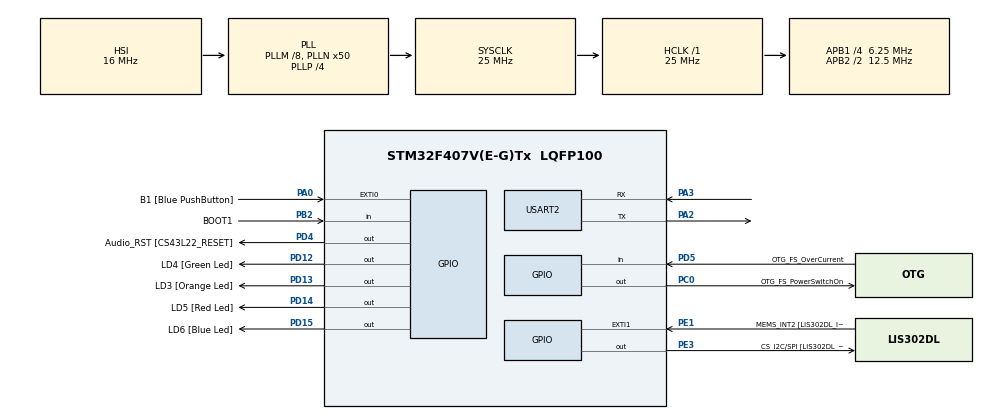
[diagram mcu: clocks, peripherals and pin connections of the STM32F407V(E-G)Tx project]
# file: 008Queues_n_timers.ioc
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Mcu.Family=STM32F4
Mcu.Name=STM32F407V(E-G)Tx
Mcu.Package=LQFP100
NVIC.PriorityGroup=NVIC_PRIORITYGROUP_4
NVIC.TIM6_DAC_IRQn=true\:15\:0\:false\:false\:true\:false\:true\:true
NVIC.TimeBase=TIM6_DAC_IRQn
NVIC.TimeBaseIP=TIM6
NVIC.USART2_IRQn=true\:6\:0\:true\:false\:true\:true\:true\:true
PA0-WKUP.GPIO_Label=B1 [Blue PushButton]
PA0-WKUP.Signal=GPXTI0
PA10.GPIO_Label=OTG_FS_ID
PA10.GPIO_Mode=GPIO_MODE_AF_PP
PA10.GPIO_PuPd=GPIO_NOPULL
PA10.GPIO_Speed=GPIO_SPEED_FREQ_LOW
PA10.Signal=USB_OTG_FS_ID
PA11.GPIO_Label=OTG_FS_DM
PA11.GPIO_Mode=GPIO_MODE_AF_PP
PA11.GPIO_PuPd=GPIO_NOPULL
PA11.GPIO_Speed=GPIO_SPEED_FREQ_LOW
PA11.Signal=USB_OTG_FS_DM
PA12.GPIO_Label=OTG_FS_DP
PA12.GPIO_Mode=GPIO_MODE_AF_PP
PA12.GPIO_PuPd=GPIO_NOPULL
PA12.GPIO_Speed=GPIO_SPEED_FREQ_LOW
PA12.Signal=USB_OTG_FS_DP
PA13.GPIO_Label=SWDIO
PA13.Signal=SYS_JTMS-SWDIO
PA14.GPIO_Label=SWCLK
PA14.Signal=SYS_JTCK-SWCLK
PA2.Mode=Asynchronous
PA2.Signal=USART2_TX
PA3.Mode=Asynchronous
PA3.Signal=USART2_RX
PA4.GPIO_Label=I2S3_WS [CS43L22_LRCK]
PA4.GPIO_Mode=GPIO_MODE_AF_PP
PA4.GPIO_PuPd=GPIO_NOPULL
PA4.GPIO_Speed=GPIO_SPEED_FREQ_LOW
PA4.Signal=I2S3_WS
PA5.GPIO_Label=SPI1_SCK [LIS302DL_SCL/SPC]
PA5.GPIO_Mode=GPIO_MODE_AF_PP
PA5.GPIO_PuPd=GPIO_NOPULL
PA5.GPIO_Speed=GPIO_SPEED_FREQ_LOW
PA5.Signal=SPI1_SCK
PA6.GPIO_Label=SPI1_MISO [LIS302DL_SDO]
PA6.GPIO_Mode=GPIO_MODE_AF_PP
PA6.GPIO_PuPd=GPIO_NOPULL
PA6.GPIO_Speed=GPIO_SPEED_FREQ_LOW
PA6.Signal=SPI1_MISO
PA7.GPIO_Label=SPI1_MOSI [LIS302DL_SDA/SDI/SDO]
PA7.GPIO_Mode=GPIO_MODE_AF_PP
PA7.GPIO_PuPd=GPIO_NOPULL
PA7.GPIO_Speed=GPIO_SPEED_FREQ_LOW
PA7.Signal=SPI1_MOSI
PA9.GPIO_Label=VBUS_FS
PA9.GPIO_Mode=GPIO_MODE_INPUT
PA9.GPIO_PuPd=GPIO_NOPULL
PA9.Signal=USB_OTG_FS_VBUS
PB10.GPIO_Label=CLK_IN [MP45DT02_CLK]
PB10.GPIO_Mode=GPIO_MODE_AF_PP
PB10.GPIO_PuPd=GPIO_NOPULL
PB10.GPIO_Speed=GPIO_SPEED_FREQ_LOW
PB10.Signal=I2S2_CK
PB2.GPIO_Label=BOOT1
PB2.GPIO_Mode=GPIO_MODE_INPUT
PB2.GPIO_PuPd=GPIO_NOPULL
PB2.Signal=GPIO_Input
PB3.GPIO_Label=SWO
PB3.Signal=SYS_JTDO-SWO
PB6.GPIO_Label=Audio_SCL [CS43L22_SCL]
PB6.GPIO_Mode=GPIO_MODE_AF_OD
PB6.GPIO_PuPd=GPIO_NOPULL
PB6.GPIO_Speed=GPIO_SPEED_FREQ_LOW
PB6.Signal=I2C1_SCL
PB9.GPIO_Label=Audio_SDA [CS43L22_SDA]
PB9.GPIO_Mode=GPIO_MODE_AF_OD
PB9.GPIO_PuPd=GPIO_NOPULL
PB9.GPIO_Speed=GPIO_SPEED_FREQ_LOW
PB9.Signal=I2C1_SDA
PC0.GPIO_Label=OTG_FS_PowerSwitchOn
PC0.GPIO_PuPd=GPIO_NOPULL
PC0.GPIO_Speed=GPIO_SPEED_FREQ_LOW
PC0.PinState=GPIO_PIN_SET
PC0.Signal=GPIO_Output
PC10.GPIO_Label=I2S3_SCK [CS43L22_SCLK]
PC10.GPIO_Mode=GPIO_MODE_AF_PP
PC10.GPIO_PuPd=GPIO_NOPULL
PC10.GPIO_Speed=GPIO_SPEED_FREQ_LOW
PC10.Signal=I2S3_CK
PC12.GPIO_Label=I2S3_SD [CS43L22_SDIN]
PC12.GPIO_Mode=GPIO_MODE_AF_PP
PC12.GPIO_PuPd=GPIO_NOPULL
PC12.GPIO_Speed=GPIO_SPEED_FREQ_LOW
PC12.Signal=I2S3_SD
PC14-OSC32_IN.GPIO_Label=PC14-OSC32_IN
PC14-OSC32_IN.Signal=RCC_OSC32_IN
PC15-OSC32_OUT.GPIO_Label=PC15-OSC32_OUT
PC15-OSC32_OUT.Signal=RCC_OSC32_OUT
PC3.GPIO_Label=PDM_OUT [MP45DT02_DOUT]
PC3.GPIO_Mode=GPIO_MODE_AF_PP
PC3.GPIO_PuPd=GPIO_NOPULL
PC3.GPIO_Speed=GPIO_SPEED_FREQ_LOW
PC3.Signal=I2S2_SD
PC7.GPIO_Label=I2S3_MCK [CS43L22_MCLK]
PC7.GPIO_Mode=GPIO_MODE_AF_PP
PC7.GPIO_PuPd=GPIO_NOPULL
PC7.GPIO_Speed=GPIO_SPEED_FREQ_LOW
PC7.Signal=I2S3_MCK
PD12.GPIO_Label=LD4 [Green Led]
PD12.GPIO_PuPd=GPIO_NOPULL
PD12.GPIO_Speed=GPIO_SPEED_FREQ_LOW
PD12.Signal=GPIO_Output
PD13.GPIO_Label=LD3 [Orange Led]
PD13.GPIO_PuPd=GPIO_NOPULL
PD13.GPIO_Speed=GPIO_SPEED_FREQ_LOW
PD13.Signal=GPIO_Output
PD14.GPIO_Label=LD5 [Red Led]
PD14.GPIO_PuPd=GPIO_NOPULL
PD14.GPIO_Speed=GPIO_SPEED_FREQ_LOW
PD14.Signal=GPIO_Output
PD15.GPIO_Label=LD6 [Blue Led]
PD15.GPIO_PuPd=GPIO_NOPULL
PD15.GPIO_Speed=GPIO_SPEED_FREQ_LOW
PD15.Signal=GPIO_Output
PD4.GPIO_Label=Audio_RST [CS43L22_RESET]
PD4.GPIO_PuPd=GPIO_NOPULL
PD4.GPIO_Speed=GPIO_SPEED_FREQ_LOW
PD4.Signal=GPIO_Output
PD5.GPIO_Label=OTG_FS_OverCurrent
PD5.GPIO_Mode=GPIO_MODE_INPUT
PD5.GPIO_PuPd=GPIO_NOPULL
PD5.Signal=GPIO_Input
PE1.GPIO_Label=MEMS_INT2 [LIS302DL_INT2]
PE1.GPIO_ModeDefaultEXTI=GPIO_MODE_EVT_RISING
PE1.GPIO_PuPd=GPIO_NOPULL
PE1.Signal=GPXTI1
PE3.GPIO_Label=CS_I2C/SPI [LIS302DL_CS_I2C/SPI]
PE3.GPIO_PuPd=GPIO_NOPULL
PE3.GPIO_Speed=GPIO_SPEED_FREQ_LOW
PE3.Signal=GPIO_Output
PH0-OSC_IN.GPIO_Label=PH0-OSC_IN
PH0-OSC_IN.Signal=RCC_OSC_IN
PH1-OSC_OUT.GPIO_Label=PH1-OSC_OUT
PH1-OSC_OUT.Signal=RCC_OSC_OUT
ProjectManager.HeapSize=0x200
ProjectManager.StackSize=0x400
ProjectManager.TargetToolchain=STM32CubeIDE
RCC.48MHZClocksFreq_Value=14285714.285714285
RCC.AHBFreq_Value=25000000
RCC.APB1CLKDivider=RCC_HCLK_DIV4
RCC.APB1Freq_Value=6250000
RCC.APB1TimFreq_Value=12500000
RCC.APB2CLKDivider=RCC_HCLK_DIV2
RCC.APB2Freq_Value=12500000
RCC.APB2TimFreq_Value=25000000
RCC.CortexFreq_Value=25000000
RCC.HCLKFreq_Value=25000000
RCC.HSE_VALUE=8000000
RCC.HSI_VALUE=16000000
RCC.LSE_VALUE=32768
RCC.PLLM=8
RCC.PLLN=50
RCC.PLLP=RCC_PLLP_DIV4
RCC.PLLQ=7
RCC.SYSCLKFreq_VALUE=25000000
RCC.SYSCLKSource=RCC_SYSCLKSOURCE_PLLCLK
RCC.VCOOutputFreq_Value=100000000
USART2.VirtualMode=VM_ASYNC
VP_RTC_VS_RTC_Activate.Mode=RTC_Enabled
VP_SYS_VS_tim6.Mode=TIM6
board=STM32F407G-DISC1

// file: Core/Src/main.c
/* USER CODE BEGIN Header */
/**
  ******************************************************************************
  * @file           : main.c
  * @brief          : Main program body
  ******************************************************************************
  * @attention
  *
  * Copyright (c) 2024 STMicroelectronics.
  * All rights reserved.
  *
  * This software is licensed under terms that can be found in the LICENSE file
  * in the root directory of this software component.
  * If no LICENSE file comes with this software, it is provided AS-IS.
  *
  ******************************************************************************
  */
/* USER CODE END Header */
#include "main.h"

/* USER CODE BEGIN Includes */
#include <stdio.h>

/* USER CODE END Includes */

RTC_HandleTypeDef hrtc;

UART_HandleTypeDef huart2;

/* USER CODE BEGIN PV */
xTaskHandle handle_cmd_task;
xTaskHandle handle_menu_task;
xTaskHandle handle_print_task;
xTaskHandle handle_led_task;
xTaskHandle handle_rtc_task;

QueueHandle_t q_data;
QueueHandle_t q_print;

TimerHandle_t handle_led_timer[4];

BaseType_t status;
volatile uint8_t user_data;

state_t curr_state=sMainMenu;
/* USER CODE END PV */

void SystemClock_Config(void);
static void MX_GPIO_Init(void);
static void MX_RTC_Init(void);
static void MX_USART2_UART_Init(void);
/* USER CODE BEGIN PFP */
void led_effect_callback(TimerHandle_t xTimer);
/* USER CODE END PFP */

int main(void)
{

  /* MCU Configuration--------------------------------------------------------*/

  /* Reset of all peripherals, Initializes the Flash interface and the Systick. */
  HAL_Init();

  /* Configure the system clock */
  SystemClock_Config();

  /* Initialize all configured peripherals */
  MX_GPIO_Init();
  MX_RTC_Init();
  MX_USART2_UART_Init();
  /* USER CODE BEGIN 2 */

  status = xTaskCreate(menu_task, "menu_task",250,NULL,2,&handle_menu_task);

  configASSERT(status == pdPASS);

  status = xTaskCreate(cmd_handler_task, "cmd_task",250,NULL,2,&handle_cmd_task);

  configASSERT(status == pdPASS);

  status = xTaskCreate(print_task, "print_task",250,NULL,2,&handle_print_task);

  configASSERT(status == pdPASS);

  status = xTaskCreate(led_task, "led_task",250,NULL,2,&handle_led_task);

  configASSERT(status == pdPASS);

  q_data = xQueueCreate(10,sizeof(char));
  configASSERT(q_data != NULL);

  q_print = xQueueCreate(10,sizeof(size_t));
  configASSERT(q_print != NULL);

  	//Create software timers for LED effects
  for(int i=0; i<4; i++)
  handle_led_timer[i]=xTimerCreate("led_timer", pdMS_TO_TICKS(500) , pdTRUE, (void*)(i+1), led_effect_callback);

  HAL_UART_Receive_IT(&huart2, (uint8_t *)&user_data, 1);

  vTaskStartScheduler();

  /* USER CODE END 2 */

  /* Infinite loop */
  while (1)
  {

  }
}

void SystemClock_Config(void)
{
  RCC_OscInitTypeDef RCC_OscInitStruct = {0};
  RCC_ClkInitTypeDef RCC_ClkInitStruct = {0};

  /** Configure the main internal regulator output voltage
  */
  __HAL_RCC_PWR_CLK_ENABLE();
  __HAL_PWR_VOLTAGESCALING_CONFIG(PWR_REGULATOR_VOLTAGE_SCALE1);

  /** Initializes the RCC Oscillators according to the specified parameters
  * in the RCC_OscInitTypeDef structure.
  */
  RCC_OscInitStruct.OscillatorType = RCC_OSCILLATORTYPE_HSI|RCC_OSCILLATORTYPE_LSI;
  RCC_OscInitStruct.HSIState = RCC_HSI_ON;
  RCC_OscInitStruct.HSICalibrationValue = RCC_HSICALIBRATION_DEFAULT;
  RCC_OscInitStruct.LSIState = RCC_LSI_ON;
  RCC_OscInitStruct.PLL.PLLState = RCC_PLL_ON;
  RCC_OscInitStruct.PLL.PLLSource = RCC_PLLSOURCE_HSI;
  RCC_OscInitStruct.PLL.PLLM = 8;
  RCC_OscInitStruct.PLL.PLLN = 50;
  RCC_OscInitStruct.PLL.PLLP = RCC_PLLP_DIV4;
  RCC_OscInitStruct.PLL.PLLQ = 7;
  if (HAL_RCC_OscConfig(&RCC_OscInitStruct) != HAL_OK)
  {
    Error_Handler();
  }

  /** Initializes the CPU, AHB and APB buses clocks
  */
  RCC_ClkInitStruct.ClockType = RCC_CLOCKTYPE_HCLK|RCC_CLOCKTYPE_SYSCLK
                              |RCC_CLOCKTYPE_PCLK1|RCC_CLOCKTYPE_PCLK2;
  RCC_ClkInitStruct.SYSCLKSource = RCC_SYSCLKSOURCE_PLLCLK;
  RCC_ClkInitStruct.AHBCLKDivider = RCC_SYSCLK_DIV1;
  RCC_ClkInitStruct.APB1CLKDivider = RCC_HCLK_DIV4;
  RCC_ClkInitStruct.APB2CLKDivider = RCC_HCLK_DIV2;

  if (HAL_RCC_ClockConfig(&RCC_ClkInitStruct, FLASH_LATENCY_0) != HAL_OK)
  {
    Error_Handler();
  }
}

static void MX_RTC_Init(void)
{

  /** Initialize RTC Only
  */
  hrtc.Instance = RTC;
  hrtc.Init.HourFormat = RTC_HOURFORMAT_24;
  hrtc.Init.AsynchPrediv = 127;
  hrtc.Init.SynchPrediv = 255;
  hrtc.Init.OutPut = RTC_OUTPUT_DISABLE;
  hrtc.Init.OutPutPolarity = RTC_OUTPUT_POLARITY_HIGH;
  hrtc.Init.OutPutType = RTC_OUTPUT_TYPE_OPENDRAIN;
  if (HAL_RTC_Init(&hrtc) != HAL_OK)
  {
    Error_Handler();
  }

}

static void MX_USART2_UART_Init(void)
{

  huart2.Instance = USART2;
  huart2.Init.BaudRate = 115200;
  huart2.Init.WordLength = UART_WORDLENGTH_8B;
  huart2.Init.StopBits = UART_STOPBITS_1;
  huart2.Init.Parity = UART_PARITY_NONE;
  huart2.Init.Mode = UART_MODE_TX_RX;
  huart2.Init.HwFlowCtl = UART_HWCONTROL_NONE;
  huart2.Init.OverSampling = UART_OVERSAMPLING_16;
  if (HAL_UART_Init(&huart2) != HAL_OK)
  {
    Error_Handler();
  }

}

static void MX_GPIO_Init(void)
{
  GPIO_InitTypeDef GPIO_InitStruct = {0};

  /* GPIO Ports Clock Enable */
  __HAL_RCC_GPIOE_CLK_ENABLE();
  __HAL_RCC_GPIOC_CLK_ENABLE();
  __HAL_RCC_GPIOH_CLK_ENABLE();
  __HAL_RCC_GPIOA_CLK_ENABLE();
  __HAL_RCC_GPIOB_CLK_ENABLE();
  __HAL_RCC_GPIOD_CLK_ENABLE();

  /*Configure GPIO pin Output Level */
  HAL_GPIO_WritePin(CS_I2C_SPI_GPIO_Port, CS_I2C_SPI_Pin, GPIO_PIN_RESET);

  /*Configure GPIO pin Output Level */
  HAL_GPIO_WritePin(OTG_FS_PowerSwitchOn_GPIO_Port, OTG_FS_PowerSwitchOn_Pin, GPIO_PIN_SET);

  /*Configure GPIO pin Output Level */
  HAL_GPIO_WritePin(GPIOD, LD4_Pin|LD3_Pin|LD5_Pin|LD6_Pin
                          |Audio_RST_Pin, GPIO_PIN_RESET);

  /*Configure GPIO pin : CS_I2C_SPI_Pin */
  GPIO_InitStruct.Pin = CS_I2C_SPI_Pin;
  GPIO_InitStruct.Mode = GPIO_MODE_OUTPUT_PP;
  GPIO_InitStruct.Pull = GPIO_NOPULL;
  GPIO_InitStruct.Speed = GPIO_SPEED_FREQ_LOW;
  HAL_GPIO_Init(CS_I2C_SPI_GPIO_Port, &GPIO_InitStruct);

  /*Configure GPIO pin : OTG_FS_PowerSwitchOn_Pin */
  GPIO_InitStruct.Pin = OTG_FS_PowerSwitchOn_Pin;
  GPIO_InitStruct.Mode = GPIO_MODE_OUTPUT_PP;
  GPIO_InitStruct.Pull = GPIO_NOPULL;
  GPIO_InitStruct.Speed = GPIO_SPEED_FREQ_LOW;
  HAL_GPIO_Init(OTG_FS_PowerSwitchOn_GPIO_Port, &GPIO_InitStruct);

  /*Configure GPIO pin : PDM_OUT_Pin */
  GPIO_InitStruct.Pin = PDM_OUT_Pin;
  GPIO_InitStruct.Mode = GPIO_MODE_AF_PP;
  GPIO_InitStruct.Pull = GPIO_NOPULL;
  GPIO_InitStruct.Speed = GPIO_SPEED_FREQ_LOW;
  GPIO_InitStruct.Alternate = GPIO_AF5_SPI2;
  HAL_GPIO_Init(PDM_OUT_GPIO_Port, &GPIO_InitStruct);

  /*Configure GPIO pin : B1_Pin */
  GPIO_InitStruct.Pin = B1_Pin;
  GPIO_InitStruct.Mode = GPIO_MODE_IT_RISING;
  GPIO_InitStruct.Pull = GPIO_NOPULL;
  HAL_GPIO_Init(B1_GPIO_Port, &GPIO_InitStruct);

  /*Configure GPIO pin : I2S3_WS_Pin */
  GPIO_InitStruct.Pin = I2S3_WS_Pin;
  GPIO_InitStruct.Mode = GPIO_MODE_AF_PP;
  GPIO_InitStruct.Pull = GPIO_NOPULL;
  GPIO_InitStruct.Speed = GPIO_SPEED_FREQ_LOW;
  GPIO_InitStruct.Alternate = GPIO_AF6_SPI3;
  HAL_GPIO_Init(I2S3_WS_GPIO_Port, &GPIO_InitStruct);

  /*Configure GPIO pins : SPI1_SCK_Pin SPI1_MISO_Pin SPI1_MOSI_Pin */
  GPIO_InitStruct.Pin = SPI1_SCK_Pin|SPI1_MISO_Pin|SPI1_MOSI_Pin;
  GPIO_InitStruct.Mode = GPIO_MODE_AF_PP;
  GPIO_InitStruct.Pull = GPIO_NOPULL;
  GPIO_InitStruct.Speed = GPIO_SPEED_FREQ_LOW;
  GPIO_InitStruct.Alternate = GPIO_AF5_SPI1;
  HAL_GPIO_Init(GPIOA, &GPIO_InitStruct);

  /*Configure GPIO pin : BOOT1_Pin */
  GPIO_InitStruct.Pin = BOOT1_Pin;
  GPIO_InitStruct.Mode = GPIO_MODE_INPUT;
  GPIO_InitStruct.Pull = GPIO_NOPULL;
  HAL_GPIO_Init(BOOT1_GPIO_Port, &GPIO_InitStruct);

  /*Configure GPIO pin : CLK_IN_Pin */
  GPIO_InitStruct.Pin = CLK_IN_Pin;
  GPIO_InitStruct.Mode = GPIO_MODE_AF_PP;
  GPIO_InitStruct.Pull = GPIO_NOPULL;
  GPIO_InitStruct.Speed = GPIO_SPEED_FREQ_LOW;
  GPIO_InitStruct.Alternate = GPIO_AF5_SPI2;
  HAL_GPIO_Init(CLK_IN_GPIO_Port, &GPIO_InitStruct);

  /*Configure GPIO pins : LD4_Pin LD3_Pin LD5_Pin LD6_Pin
                           Audio_RST_Pin */
  GPIO_InitStruct.Pin = LD4_Pin|LD3_Pin|LD5_Pin|LD6_Pin
                          |Audio_RST_Pin;
  GPIO_InitStruct.Mode = GPIO_MODE_OUTPUT_PP;
  GPIO_InitStruct.Pull = GPIO_NOPULL;
  GPIO_InitStruct.Speed = GPIO_SPEED_FREQ_LOW;
  HAL_GPIO_Init(GPIOD, &GPIO_InitStruct);

  /*Configure GPIO pins : I2S3_MCK_Pin I2S3_SCK_Pin I2S3_SD_Pin */
  GPIO_InitStruct.Pin = I2S3_MCK_Pin|I2S3_SCK_Pin|I2S3_SD_Pin;
  GPIO_InitStruct.Mode = GPIO_MODE_AF_PP;
  GPIO_InitStruct.Pull = GPIO_NOPULL;
  GPIO_InitStruct.Speed = GPIO_SPEED_FREQ_LOW;
  GPIO_InitStruct.Alternate = GPIO_AF6_SPI3;
  HAL_GPIO_Init(GPIOC, &GPIO_InitStruct);

  /*Configure GPIO pin : VBUS_FS_Pin */
  GPIO_InitStruct.Pin = VBUS_FS_Pin;
  GPIO_InitStruct.Mode = GPIO_MODE_INPUT;
  GPIO_InitStruct.Pull = GPIO_NOPULL;
  HAL_GPIO_Init(VBUS_FS_GPIO_Port, &GPIO_InitStruct);

  /*Configure GPIO pins : OTG_FS_ID_Pin OTG_FS_DM_Pin OTG_FS_DP_Pin */
  GPIO_InitStruct.Pin = OTG_FS_ID_Pin|OTG_FS_DM_Pin|OTG_FS_DP_Pin;
  GPIO_InitStruct.Mode = GPIO_MODE_AF_PP;
  GPIO_InitStruct.Pull = GPIO_NOPULL;
  GPIO_InitStruct.Speed = GPIO_SPEED_FREQ_LOW;
  GPIO_InitStruct.Alternate = GPIO_AF10_OTG_FS;
  HAL_GPIO_Init(GPIOA, &GPIO_InitStruct);

  /*Configure GPIO pin : OTG_FS_OverCurrent_Pin */
  GPIO_InitStruct.Pin = OTG_FS_OverCurrent_Pin;
  GPIO_InitStruct.Mode = GPIO_MODE_INPUT;
  GPIO_InitStruct.Pull = GPIO_NOPULL;
  HAL_GPIO_Init(OTG_FS_OverCurrent_GPIO_Port, &GPIO_InitStruct);

  /*Configure GPIO pins : Audio_SCL_Pin Audio_SDA_Pin */
  GPIO_InitStruct.Pin = Audio_SCL_Pin|Audio_SDA_Pin;
  GPIO_InitStruct.Mode = GPIO_MODE_AF_OD;
  GPIO_InitStruct.Pull = GPIO_NOPULL;
  GPIO_InitStruct.Speed = GPIO_SPEED_FREQ_LOW;
  GPIO_InitStruct.Alternate = GPIO_AF4_I2C1;
  HAL_GPIO_Init(GPIOB, &GPIO_InitStruct);

  /*Configure GPIO pin : MEMS_INT2_Pin */
  GPIO_InitStruct.Pin = MEMS_INT2_Pin;
  GPIO_InitStruct.Mode = GPIO_MODE_EVT_RISING;
  GPIO_InitStruct.Pull = GPIO_NOPULL;
  HAL_GPIO_Init(MEMS_INT2_GPIO_Port, &GPIO_InitStruct);

}

/* USER CODE BEGIN 4 */

void led_effect_callback(TimerHandle_t xTimer)
{

int id;
id= (uint32_t) pvTimerGetTimerID(xTimer);

switch(id)
{
case 1:
	LED_effect1();

case 2:
	LED_effect2();
case 3:
	LED_effect3();

case 4:
	LED_effect4();

}

}

void HAL_UART_RxCpltCallback(UART_HandleTypeDef *huart)
{
	uint8_t dummy;

	for(uint32_t i = 0 ; i < 4000 ; i++);

	if(! xQueueIsQueueFullFromISR(q_data))
	{
		/*Enqueue data byte */
		xQueueSendFromISR(q_data , (void*)&user_data , NULL);
	}else{
		if(user_data == '\n')
		{
			/*Make sure that last data byte of the queue is '\n' */
			xQueueReceiveFromISR(q_data,(void*)&dummy,NULL);
			xQueueSendFromISR(q_data ,(void*)&user_data , NULL);
		}
	}

	/*Send notification to command handling task if user_data = '\n' */
	if( user_data == '\n' ){
		/*send notification to command handling task */
		xTaskNotifyFromISR (handle_cmd_task,0,eNoAction,NULL);
	}

	/* Enable UART data byte reception again in IT mode */
	 HAL_UART_Receive_IT(&huart2, (uint8_t*)&user_data, 1);

}

/* USER CODE END 4 */

void HAL_TIM_PeriodElapsedCallback(TIM_HandleTypeDef *htim)
{
  if (htim->Instance == TIM6) {
    HAL_IncTick();
  }
}

void Error_Handler(void)
{
  __disable_irq();
  while (1)
  {
  }
}
